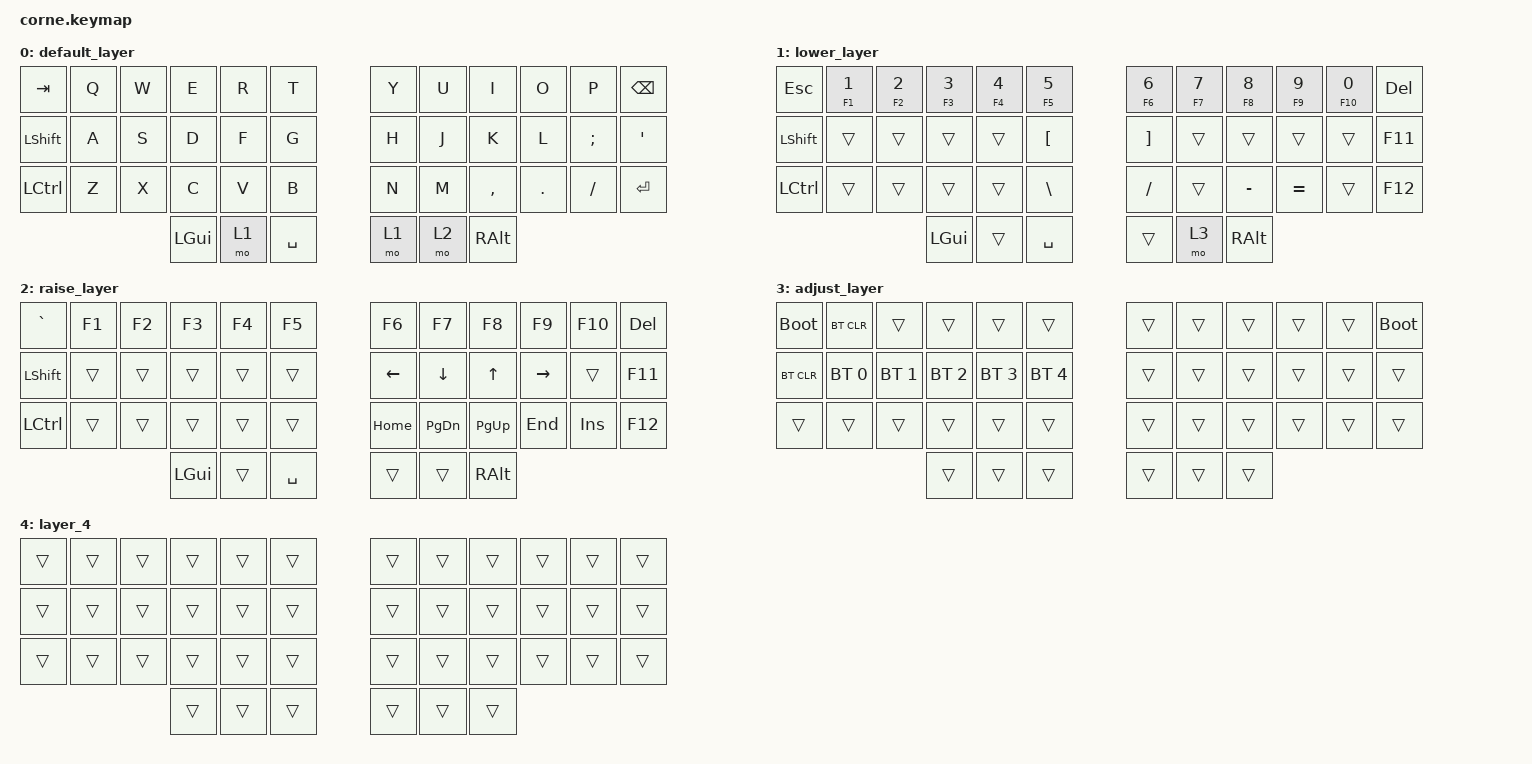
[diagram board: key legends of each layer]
/*
 * Copyright (c) 2020 The ZMK Contributors
 *
 * SPDX-License-Identifier: MIT
 */

#include <behaviors.dtsi>
#include <dt-bindings/zmk/bt.h>
#include <dt-bindings/zmk/keys.h>

/ {
    conditional_layers {
        compatible = "zmk,conditional-layers";

        adjust {
            if-layers = <1 2>;
            then-layer = <3>;
        };
    };

    keymap {
        compatible = "zmk,keymap";

        default_layer {
            // -----------------------------------------------------------------------------------------
            // |  TAB |  Q  |  W  |  E  |  R  |  T  |   |  Y  |  U   |  I  |  O  |  P  | BKSP |
            // | CTRL |  A  |  S  |  D  |  F  |  G  |   |  H  |  J   |  K  |  L  |  ;  |  '   |
            // | SHFT |  Z  |  X  |  C  |  V  |  B  |   |  N  |  M   |  ,  |  .  |  /  | ESC  |
            //                    | GUI | LWR | SPC |   | ENT | RSE  | ALT |

            bindings = <
&kp TAB         &kp Q  &kp W  &kp E     &kp R  &kp T        &kp Y  &kp U  &kp I      &kp O    &kp P     &kp BSPC
&kp LEFT_SHIFT  &kp A  &kp S  &kp D     &kp F  &kp G        &kp H  &kp J  &kp K      &kp L    &kp SEMI  &kp SQT
&kp LCTRL       &kp Z  &kp X  &kp C     &kp V  &kp B        &kp N  &kp M  &kp COMMA  &kp DOT  &kp FSLH  &kp ENTER
                              &kp LGUI  &mo 1  &kp SPACE    &mo 1  &mo 2  &kp RALT
            >;
        };

        lower_layer {
            // -----------------------------------------------------------------------------------------
            // |  TAB |  1  |  2  |  3  |  4  |  5  |   |  6  |  7  |  8  |  9  |  0  | BKSP |
            // | BTCLR| BT1 | BT2 | BT3 | BT4 | BT5 |   | LFT | DWN |  UP | RGT |     |      |
            // | SHFT |     |     |     |     |     |   |     |     |     |     |     |      |
            //                    | GUI |     | SPC |   | ENT |     | ALT |

            bindings = <
&kp ESCAPE      &mt F1 NUMBER_1  &mt F2 NUMBER_2  &mt F3 NUMBER_3  &mt F4 NUMBER_4  &mt F5 N5           &mt F6 NUMBER_6    &mt F7 N7  &mt F8 N8  &mt F9 N9  &mt F10 N0  &kp DEL
&kp LEFT_SHIFT  &trans           &trans           &trans           &trans           &kp LEFT_BRACKET    &kp RIGHT_BRACKET  &trans     &trans     &trans     &trans      &kp F11
&kp LCTRL       &trans           &trans           &trans           &trans           &kp BACKSLASH       &kp SLASH          &trans     &kp MINUS  &kp EQUAL  &trans      &kp F12
                                                  &kp LGUI         &trans           &kp SPACE           &trans             &mo 3      &kp RALT
            >;
        };

        raise_layer {
            // -----------------------------------------------------------------------------------------
            // |  TAB |  !  |  @  |  #  |  $  |  %  |   |  ^  |  &  |  *  |  (  |  )  | BKSP |
            // | CTRL |     |     |     |     |     |   |  -  |  =  |  [  |  ]  |  \  |  `   |
            // | SHFT |     |     |     |     |     |   |  _  |  +  |  {  |  }  | "|" |  ~   |
            //                    | GUI |     | SPC |   | ENT |     | ALT |

            bindings = <
&kp GRAVE       &kp F1  &kp F2  &kp F3    &kp F4  &kp F5       &kp F6          &kp F7         &kp F8        &kp F9     &kp F10  &kp DELETE
&kp LEFT_SHIFT  &trans  &trans  &trans    &trans  &trans       &kp LEFT_ARROW  &kp DOWN       &kp UP_ARROW  &kp RIGHT  &trans   &kp F11
&kp LCTRL       &trans  &trans  &trans    &trans  &trans       &kp HOME        &kp PAGE_DOWN  &kp PG_UP     &kp END    &kp INS  &kp F12
                                &kp LGUI  &trans  &kp SPACE    &trans          &trans         &kp RALT
            >;
        };

        adjust_layer {
            bindings = <
&bootloader  &bt BT_CLR    &trans        &trans        &trans        &trans          &trans  &trans  &trans  &trans  &trans  &bootloader
&bt BT_CLR   &bt BT_SEL 0  &bt BT_SEL 1  &bt BT_SEL 2  &bt BT_SEL 3  &bt BT_SEL 4    &trans  &trans  &trans  &trans  &trans  &trans
&trans       &trans        &trans        &trans        &trans        &trans          &trans  &trans  &trans  &trans  &trans  &trans
                                         &trans        &trans        &trans          &trans  &trans  &trans
            >;
        };

        layer_4 {
            bindings = <
&trans  &trans  &trans  &trans  &trans  &trans    &trans  &trans  &trans  &trans  &trans  &trans
&trans  &trans  &trans  &trans  &trans  &trans    &trans  &trans  &trans  &trans  &trans  &trans
&trans  &trans  &trans  &trans  &trans  &trans    &trans  &trans  &trans  &trans  &trans  &trans
                        &trans  &trans  &trans    &trans  &trans  &trans
            >;
        };
    };
};
